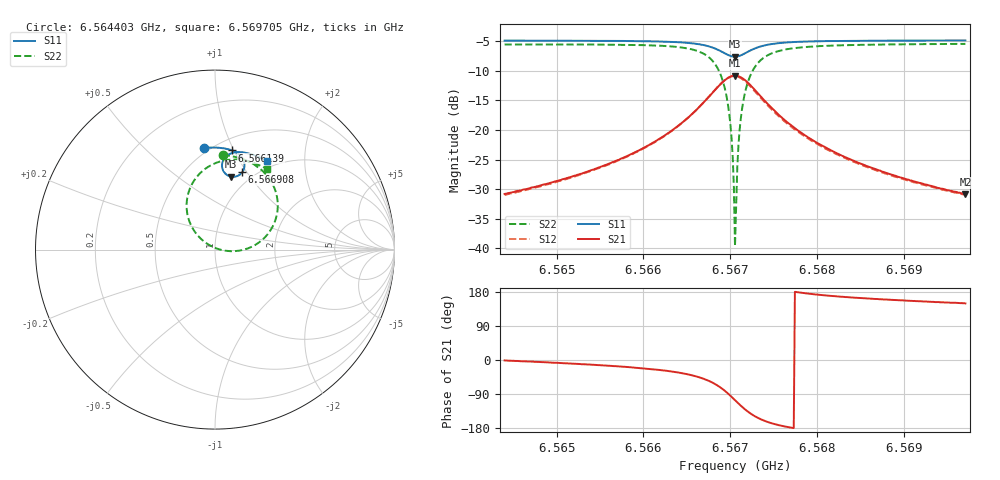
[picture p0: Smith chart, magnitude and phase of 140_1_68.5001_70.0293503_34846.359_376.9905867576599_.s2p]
#  HZ  S  RI  R  50.00
! Rohde & Schwarz Vector Network Analyzer
! Rohde-Schwarz,ZNB20-2Port,1311601062101988,3.16
! Created: UTC 3/20/2024, 4:54:50 PM
! freq[Hz]  re:S11  im:S11  re:S21  im:S21  re:S12  im:S12  re:S22  im:S22
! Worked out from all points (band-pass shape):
!   401 points, 6.564403 GHz to 6.569705 GHz, reference 50 ohm
!   highest |S21| = -10.81 dB at 6.567054 GHz (marker M1); lowest = -30.9 dB at 6.569705 GHz (marker M2)
!   |S21| within 3 dB of the highest: 6.566788 GHz to 6.567319 GHz (530.6 kHz wide, 0.00808 % of centre)
!   lowest |S11| = -7.6 dB at 6.567054 GHz (marker M3), VSWR 2.43, Z = 41.4 + j40.8 ohm
!   |S11| at or under -10 dB: nowhere
!   |S22| runs from -39.6 to -5.4 dB; largest |S21 - S12| = 0.014
!   S11 on the Smith chart (normalised r, x): 6.564403 GHz: 0.47, +0.79; 6.566139 GHz: 0.61, +0.98; 6.566908 GHz: 0.87, +0.95; 6.569705 GHz: 0.90, +1.32
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6.5644025e9  -0.0589 0.5663  0.0288 -0.000528  0.0282 -0.00112  0.0426 0.5266
6.5652907e9  0.0143 0.568  0.042 -0.00829  0.0415 -0.00874  0.1282 0.5122
6.5661392e9  0.0945 0.5527  0.0727 -0.0342  0.0716 -0.035  0.2424 0.4574
6.566179e9  0.0989 0.551  0.0751 -0.0368  0.0741 -0.0377  0.2493 0.4519
6.5664839e9  0.1347 0.53  0.0979 -0.0725  0.0963 -0.074  0.3116 0.3814
6.566696e9  0.1594 0.4965  0.1109 -0.1312  0.1082 -0.1338  0.3487 0.2681
6.5668153e9  0.164 0.4631  0.0999 -0.1895  0.095 -0.1931  0.3335 0.1563
6.5669081e9  0.1516 0.4307  0.0607 -0.2452  0.052 -0.2482  0.2618 0.053
6.5669877e9  0.1219 0.4089  -0.00713 -0.2794  -0.0191 -0.2784  0.1367 -0.00552
6.5670142e9  0.1087 0.4058  -0.0354 -0.2826  -0.048 -0.2797  0.0855 -0.00881
6.5670274e9  0.1017 0.4053  -0.0502 -0.2821  -0.0627 -0.2783  0.0594 -0.00627
6.5670407e9  0.0947 0.4058  -0.0647 -0.2803  -0.0772 -0.275  0.0335 -0.00136
6.5670539e9  0.0878 0.4068  -0.0791 -0.2769  -0.0914 -0.2706  0.00823 0.00641
6.5670805e9  0.0745 0.4115  -0.1067 -0.2658  -0.1179 -0.2576  -0.0388 0.0295
6.567107e9  0.0629 0.4188  -0.1309 -0.2499  -0.1406 -0.24  -0.0792 0.0606
6.5671335e9  0.0533 0.4281  -0.151 -0.2306  -0.1588 -0.2195  -0.1113 0.0976
6.5671865e9  0.0416 0.45  -0.1772 -0.1868  -0.1811 -0.175  -0.1493 0.178
6.5672528e9  0.0394 0.4769  -0.1871 -0.1344  -0.1871 -0.1237  -0.157 0.2704
6.5675047e9  0.0777 0.5308  -0.1434 -0.0283  -0.1401 -0.0239  -0.0559 0.449
6.5679422e9  0.1406 0.5432  -0.0821 0.00866  -0.08 0.00994  0.0823 0.5009
6.5688304e9  0.2242 0.5233  -0.0396 0.0152  -0.0388 0.0155  0.2132 0.4836
6.5697054e9  0.2894 0.4923  -0.0246 0.0146  -0.0242 0.0146  0.2911 0.4481
